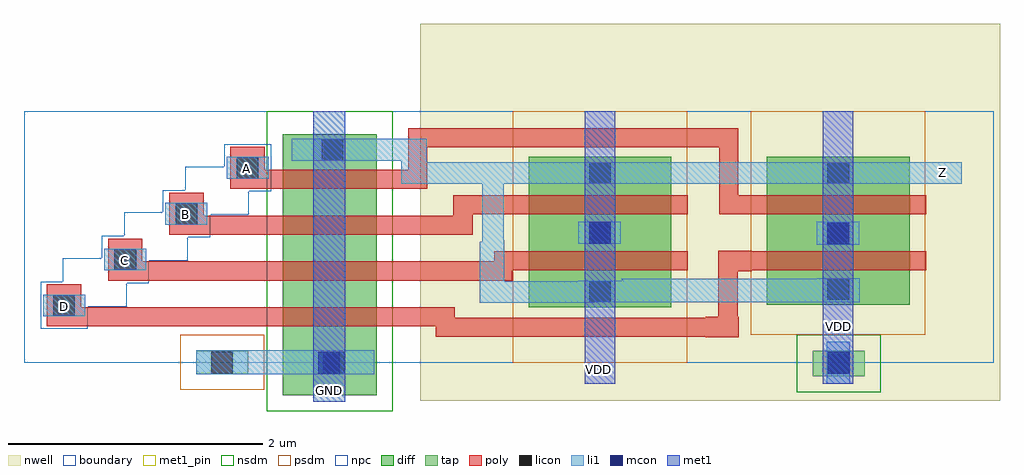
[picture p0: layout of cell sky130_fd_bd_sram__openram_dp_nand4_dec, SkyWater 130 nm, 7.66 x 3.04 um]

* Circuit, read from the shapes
.subckt sky130_fd_bd_sram__openram_dp_nand4_dec A B C D GND VDD Z
XM1 n1 D GND GND sky130_fd_pr__nfet_01v8 w=0.74 l=0.15
XM2 n2 C n1 GND sky130_fd_pr__nfet_01v8 w=0.74 l=0.15
XM3 n3 B n2 GND sky130_fd_pr__nfet_01v8 w=0.74 l=0.15
XM4 Z A n3 GND sky130_fd_pr__nfet_01v8 w=0.74 l=0.15
XM5 VDD C Z VDD sky130_fd_pr__pfet_01v8 w=1.12 l=0.15
XM6 Z B VDD VDD sky130_fd_pr__pfet_01v8 w=1.12 l=0.15
XM7 VDD D Z VDD sky130_fd_pr__pfet_01v8 w=1.12 l=0.15
XM8 Z A VDD VDD sky130_fd_pr__pfet_01v8 w=1.12 l=0.15
.ends

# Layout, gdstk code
import gdstk
lib = gdstk.Library(unit=1e-6, precision=1e-09)
def R(c, l, rs):  # rectangles x0, y0, x1, y1
    for r in rs: c.add(gdstk.rectangle(r[:2], r[2:], *l))
nwell = (64, 20)
diff = (65, 20)
tap = (65, 44)
poly = (66, 20)
licon = (66, 44)
li1 = (67, 20)
mcon = (67, 44)
met1_pin = (68, 16)
met1 = (68, 20)
nsdm = (93, 44)
psdm = (94, 20)
npc = (95, 20)
boundary = (235, 4)

sky130_fd_bd_sram__openr = lib.new_cell('sky130_fd_bd_sram__openram_dp_nand4_dec')
R(sky130_fd_bd_sram__openr, nwell, [(3.11,-0.3,7.66,2.66)])
R(sky130_fd_bd_sram__openr, diff, [(2.03,-0.255,2.77,1.795), (3.96,0.435,5.08,1.615), (5.83,0.455,6.95,1.615)])
R(sky130_fd_bd_sram__openr, tap, [(6.19,-0.105,6.6,0.095), (1.35,-0.085,1.76,0.095)])
R(sky130_fd_bd_sram__openr, poly, [(5.35,0.2,5.61,0.205), (3.23,0.205,5.61,0.285), (0.18,0.285,5.61,0.355), (0.18,0.355,3.38,0.435), (5.35,0.355,5.61,0.36), (5.45,0.36,5.6,0.72), (0.18,0.435,0.45,0.615), (0.66,0.645,3.83,0.725), (5.45,0.72,5.71,0.725), (0.66,0.725,5.21,0.795), (5.45,0.725,7.08,0.875), (0.66,0.795,0.93,0.975), (3.69,0.795,5.21,0.875), (5.45,0.875,5.71,0.88), (1.14,1.005,3.52,1.155), (1.14,1.155,1.41,1.335), (3.37,1.155,3.52,1.165), (3.37,1.165,5.21,1.315), (5.46,1.165,7.08,1.17), (5.455,1.17,7.08,1.315), (5.455,1.315,5.605,1.69), (1.62,1.365,3.165,1.515), (1.62,1.515,1.89,1.695), (3.015,1.515,3.165,1.69), (3.015,1.69,5.605,1.84)])
R(sky130_fd_bd_sram__openr, licon, [(1.47,-0.085,1.64,0.085), (2.345,-0.085,2.515,0.085), (6.31,-0.085,6.48,0.085), (0.23,0.365,0.4,0.535), (4.435,0.475,4.605,0.645), (6.305,0.495,6.475,0.665), (0.71,0.725,0.88,0.895), (6.305,0.93,6.475,1.1), (4.435,0.935,4.605,1.105), (1.19,1.085,1.36,1.255), (4.435,1.405,4.605,1.575), (6.305,1.405,6.475,1.575), (1.67,1.445,1.84,1.615), (2.335,1.585,2.505,1.755)])
R(sky130_fd_bd_sram__openr, li1, [(6.3,-0.165,6.48,0.165), (1.35,-0.09,2.75,0.1), (0.15,0.365,0.48,0.535), (3.575,0.47,4.475,0.475), (3.575,0.475,4.69,0.64), (4.69,0.475,6.56,0.66), (5.91,0.49,6.345,0.495), (3.575,0.64,3.77,0.95), (4.35,0.64,4.69,0.645), (6.22,0.66,6.56,0.665), (0.63,0.725,0.96,0.895), (6.22,0.925,6.555,1.105), (4.35,0.935,4.685,1.105), (3.595,0.95,3.77,0.96), (3.595,0.96,3.765,1.405), (1.11,1.085,1.44,1.255), (2.96,1.405,5.2,1.575), (5.155,1.405,7.36,1.575), (1.59,1.445,1.92,1.615), (2.96,1.575,3.16,1.585), (2.1,1.585,3.16,1.76)])
R(sky130_fd_bd_sram__openr, mcon, [(2.31,-0.085,2.48,0.085), (6.31,-0.085,6.48,0.085), (6.305,0.93,6.475,1.1), (4.435,0.935,4.605,1.105)])
R(sky130_fd_bd_sram__openr, met1_pin, [(2.31,-0.255,2.49,-0.175)])
R(sky130_fd_bd_sram__openr, met1, [(2.27,-0.305,2.52,1.975), (4.4,-0.165,4.64,1.975), (6.27,-0.165,6.51,1.975)])
R(sky130_fd_bd_sram__openr, nsdm, [(1.905,-0.38,2.895,1.975), (6.065,-0.23,6.725,0.22)])
R(sky130_fd_bd_sram__openr, psdm, [(1.225,-0.21,1.885,0.22), (3.835,0,5.205,1.975), (5.705,0.22,7.075,1.975)])
R(sky130_fd_bd_sram__openr, npc, [(0.13,0.265,0.5,0.44), (0.13,0.44,0.805,0.625), (0.13,0.625,0.98,0.635), (0.305,0.635,0.98,0.8), (0.305,0.8,1.285,0.82), (0.61,0.82,1.285,0.985), (0.61,0.985,1.46,0.995), (0.785,0.995,1.46,1.16), (0.785,1.16,1.765,1.18), (1.09,1.18,1.765,1.345), (1.09,1.345,1.94,1.355), (1.265,1.355,1.94,1.54), (1.57,1.54,1.94,1.715)])
R(sky130_fd_bd_sram__openr, boundary, [(0,0,7.61,1.975)])
sky130_fd_bd_sram__openr.add(gdstk.Label('GND', (2.4,-0.215), layer=68, texttype=16))
sky130_fd_bd_sram__openr.add(gdstk.Label('VDD', (4.51,-0.055), layer=68, texttype=16))
sky130_fd_bd_sram__openr.add(gdstk.Label('VDD', (6.39,0.285), layer=68, texttype=16))
sky130_fd_bd_sram__openr.add(gdstk.Label('A', (1.75,1.525), layer=67, texttype=16))
sky130_fd_bd_sram__openr.add(gdstk.Label('B', (1.27,1.165), layer=67, texttype=16))
sky130_fd_bd_sram__openr.add(gdstk.Label('C', (0.79,0.805), layer=67, texttype=16))
sky130_fd_bd_sram__openr.add(gdstk.Label('D', (0.32,0.445), layer=67, texttype=16))
sky130_fd_bd_sram__openr.add(gdstk.Label('Z', (7.21,1.49), layer=67, texttype=16))

lib.write_gds('sky130_fd_bd_sram__openram_dp_nand4_dec.gds')
